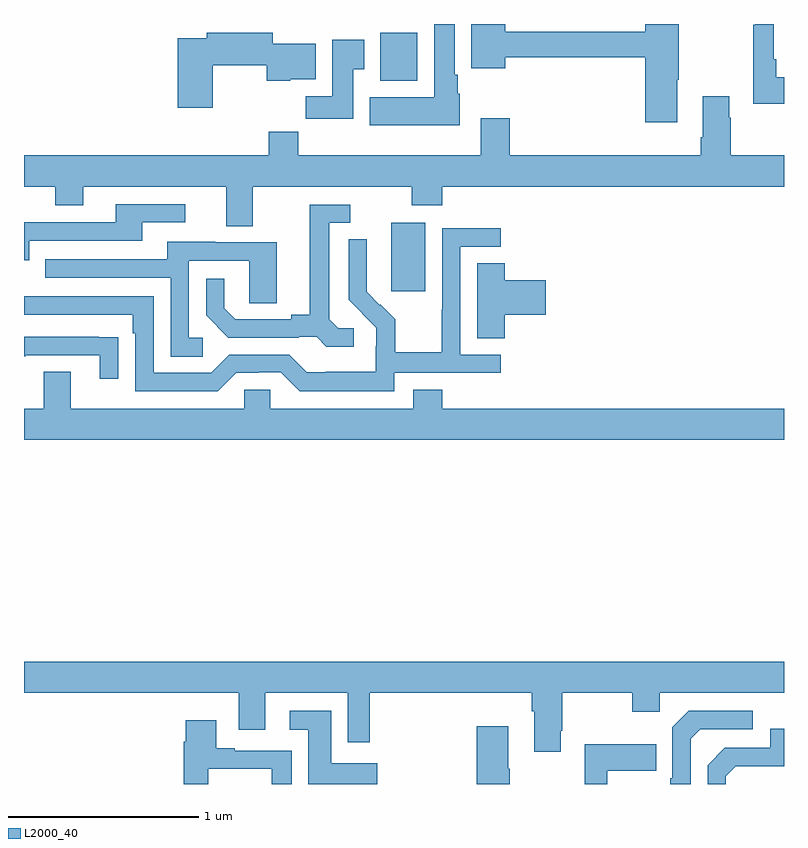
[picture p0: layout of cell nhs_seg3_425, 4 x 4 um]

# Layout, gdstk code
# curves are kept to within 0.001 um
import gdstk
lib = gdstk.Library(unit=1e-6, precision=1e-09)
def R(c, l, rs):  # rectangles x0, y0, x1, y1
    for r in rs: c.add(gdstk.rectangle(r[:2], r[2:], *l))
def P(c, l, *ps):  # polygons
    for p in ps: c.add(gdstk.Polygon(p, *l))
L2000_40 = (2000, 40)

nhs_seg3_425 = lib.new_cell('nhs_seg3_425')
R(nhs_seg3_425, L2000_40, [(132.932,738.993,133.111,739.354), (132.875,740.102,133.071,740.353)])
P(nhs_seg3_425, L2000_40, [(133.294,740.034),(133.282,740.034),(133.282,740.134),(133.267,740.134),(133.267,740.4),(133.16,740.4),(133.16,740.014),(132.821,740.014),(132.821,739.868),(133.294,739.868)],
  [(135,740.119),(134.959,740.119),(134.959,740.215),(134.946,740.215),(134.946,740.4),(134.849,740.4),(134.849,740.395),(134.838,740.395),(134.838,739.979),(135,739.979)],
  [(134.437,740.107),(134.445,740.107),(134.445,740.4),(134.27,740.4),(134.27,740.36),(133.534,740.36),(133.534,740.4),(133.355,740.4),(133.355,740.168),(133.534,740.168),(133.534,740.224),(134.27,740.224),(134.27,739.884),(134.437,739.884)],
  [(131.993,740.182),(132.277,740.182),(132.277,740.102),(132.402,740.102),(132.402,740.108),(132.535,740.108),(132.535,740.296),(132.31,740.296),(132.31,740.354),(131.963,740.354),(131.963,740.324),(131.81,740.324),(131.81,739.959),(131.993,739.959)],
  [(132.733,740.161),(132.79,740.161),(132.79,740.317),(132.623,740.317),(132.623,740.02),(132.484,740.02),(132.484,739.902),(132.733,739.902)],
  [(132.205,739.544),(133.042,739.544),(133.042,739.445),(133.202,739.445),(133.202,739.544),(135,739.544),(135,739.708),(134.721,739.708),(134.721,739.907),(134.713,739.907),(134.713,740.02),(134.573,740.02),(134.573,739.804),(134.561,739.804),(134.561,739.708),(133.556,739.708),(133.556,739.903),(133.403,739.903),(133.403,739.708),(132.443,739.708),(132.443,739.832),(132.287,739.832),(132.287,739.708),(131,739.708),(131,739.544),(131.164,739.544),(131.164,739.445),(131.311,739.445),(131.311,739.544),(132.065,739.544),(132.065,739.336),(132.205,739.336)],
  [(131.028,739.26),(131.623,739.26),(131.623,739.356),(131.848,739.356),(131.848,739.452),(131.483,739.452),(131.483,739.356),(131,739.356),(131,739.157),(131.028,739.157)],
  [(132.736,738.798),(132.654,738.798),(132.607,738.845),(132.607,739.353),(132.718,739.353),(132.718,739.449),(132.503,739.449),(132.503,738.869),(132.407,738.869),(132.407,738.846),(132.112,738.846),(132.055,738.903),(132.055,739.06),(131.958,739.06),(131.958,738.866),(132.074,738.75),(132.446,738.75),(132.446,738.753),(132.54,738.753),(132.592,738.701),(132.736,738.701)],
  [(132.948,738.564),(133.51,738.564),(133.51,738.66),(133.296,738.66),(133.296,739.227),(133.51,739.227),(133.51,739.326),(133.2,739.326),(133.2,738.896),(133.198,738.896),(133.198,738.673),(132.953,738.673),(132.953,738.847),(132.876,738.924),(132.873,738.921),(132.803,738.992),(132.804,739.268),(132.708,739.268),(132.708,738.95),(132.854,738.802),(132.854,738.705),(132.852,738.705),(132.852,738.571),(132.589,738.571),(132.589,738.567),(132.489,738.567),(132.396,738.66),(132.081,738.66),(131.985,738.564),(131.682,738.564),(131.682,738.966),(131,738.966),(131,738.87),(131.573,738.87),(131.573,738.773),(131.586,738.773),(131.586,738.468),(132.021,738.468),(132.117,738.564),(132.236,738.564),(132.236,738.567),(132.351,738.567),(132.451,738.467),(132.948,738.467)],
  [(131.941,738.75),(131.868,738.75),(131.868,739.155),(132.186,739.155),(132.186,738.931),(132.331,738.931),(132.331,739.251),(132.007,739.251),(132.007,739.255),(131.753,739.255),(131.753,739.161),(131.113,739.161),(131.113,739.065),(131.772,739.065),(131.772,738.649),(131.941,738.649)],
  [(133.529,738.869),(133.747,738.869),(133.747,739.052),(133.529,739.052),(133.529,739.142),(133.385,739.142),(133.385,738.745),(133.529,738.745)],
  [(131.495,738.752),(131.393,738.752),(131.393,738.753),(131,738.753),(131,738.652),(131.009,738.652),(131.009,738.657),(131.399,738.657),(131.399,738.534),(131.495,738.534)],
  [(135,738.376),(133.202,738.376),(133.202,738.475),(133.049,738.475),(133.049,738.376),(132.297,738.376),(132.297,738.474),(132.159,738.474),(132.159,738.376),(131.245,738.376),(131.245,738.571),(131.105,738.571),(131.105,738.376),(131,738.376),(131,738.212),(135,738.212)],
  [(133.825,736.681),(133.833,736.681),(133.833,736.88),(134.2,736.88),(134.2,736.781),(134.346,736.781),(134.346,736.88),(135,736.88),(135,737.044),(131,737.044),(131,736.88),(132.131,736.88),(132.131,736.686),(132.271,736.686),(132.271,736.88),(132.705,736.88),(132.705,736.62),(132.821,736.62),(132.821,736.88),(133.673,736.88),(133.673,736.784),(133.685,736.784),(133.685,736.569),(133.825,736.569)],
  [(132.859,736.51),(132.616,736.51),(132.616,736.786),(132.399,736.786),(132.399,736.685),(132.497,736.685),(132.497,736.4),(132.859,736.4)],
  [(134.508,736.638),(134.559,736.689),(134.836,736.689),(134.836,736.785),(134.499,736.785),(134.412,736.698),(134.412,736.429),(134.4,736.429),(134.4,736.4),(134.508,736.4)],
  [(131.971,736.479),(132.305,736.479),(132.305,736.4),(132.409,736.4),(132.409,736.575),(132.109,736.575),(132.109,736.588),(132.013,736.588),(132.013,736.735),(131.852,736.735),(131.852,736.622),(131.84,736.622),(131.84,736.4),(131.971,736.4)],
  [(133.557,736.481),(133.549,736.481),(133.549,736.705),(133.382,736.705),(133.382,736.4),(133.557,736.4)],
  [(134.694,736.44),(134.747,736.493),(135,736.493),(135,736.692),(134.928,736.692),(134.928,736.59),(134.688,736.59),(134.598,736.5),(134.598,736.4),(134.694,736.4)],
  [(134.071,736.469),(134.327,736.469),(134.327,736.609),(133.95,736.609),(133.95,736.4),(134.071,736.4)])

lib.write_gds('nhs_seg3_425.gds')
